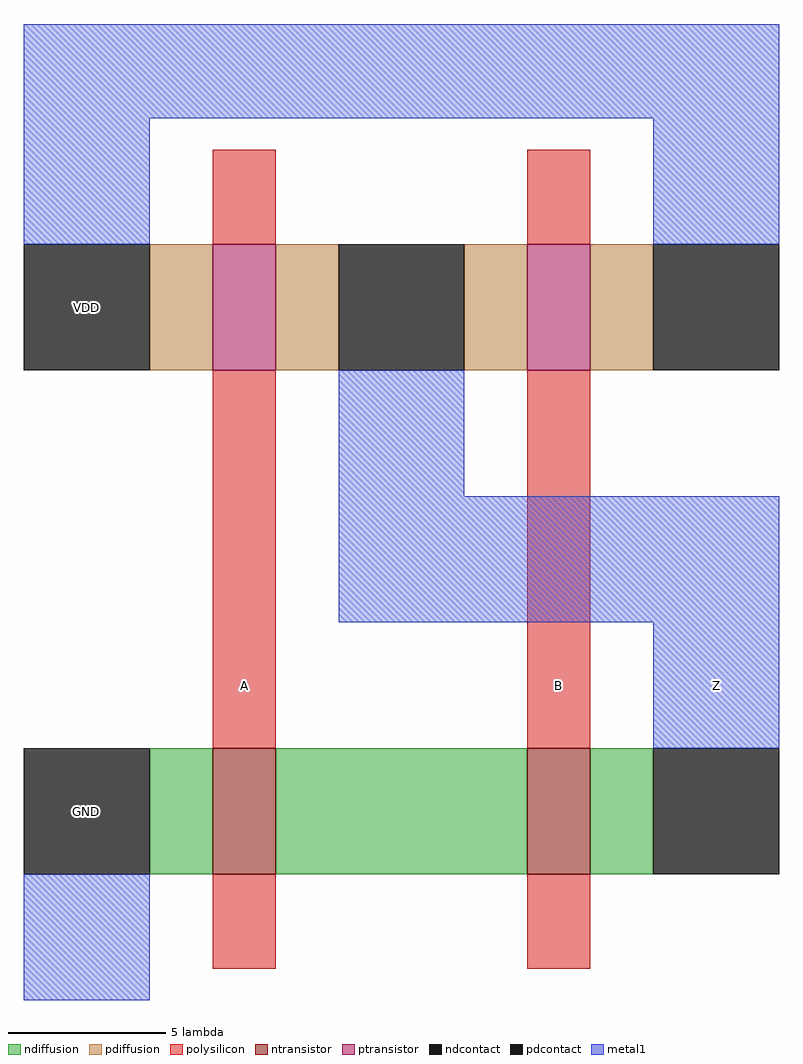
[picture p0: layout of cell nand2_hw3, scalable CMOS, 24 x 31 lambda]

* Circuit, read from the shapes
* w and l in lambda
.subckt nand2_hw3 A B GND VDD Z
M1 n1 A GND VSUBS nfet w=4 l=2
M2 Z B n1 VSUBS nfet w=4 l=2
M3 Z A VDD NWELL pfet w=4 l=2
M4 VDD B Z NWELL pfet w=4 l=2
.ends

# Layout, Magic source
magic
tech scmos
<< ntransistor >>
rect 6 0 8 4
rect 16 0 18 4
<< ptransistor >>
rect 6 16 8 20
rect 16 16 18 20
<< ndiffusion >>
rect 4 0 6 4
rect 8 0 16 4
rect 18 0 20 4
<< pdiffusion >>
rect 4 16 6 20
rect 8 16 10 20
rect 14 16 16 20
rect 18 16 20 20
<< ndcontact >>
rect 0 0 4 4
rect 20 0 24 4
<< pdcontact >>
rect 0 16 4 20
rect 10 16 14 20
rect 20 16 24 20
<< polysilicon >>
rect 6 20 8 23
rect 16 20 18 23
rect 6 4 8 16
rect 16 4 18 16
rect 6 -3 8 0
rect 16 -3 18 0
<< metal1 >>
rect 0 24 24 27
rect 0 20 4 24
rect 20 20 24 24
rect 10 12 14 16
rect 10 8 24 12
rect 20 4 24 8
rect 0 -4 4 0
<< labels >>
rlabel ndcontact 2 2 2 2 1 GND
rlabel pdcontact 2 18 2 18 1 VDD
rlabel metal1 22 6 22 6 1 Z
rlabel polysilicon 17 6 17 6 1 B
rlabel polysilicon 7 6 7 6 1 A
<< end >>
